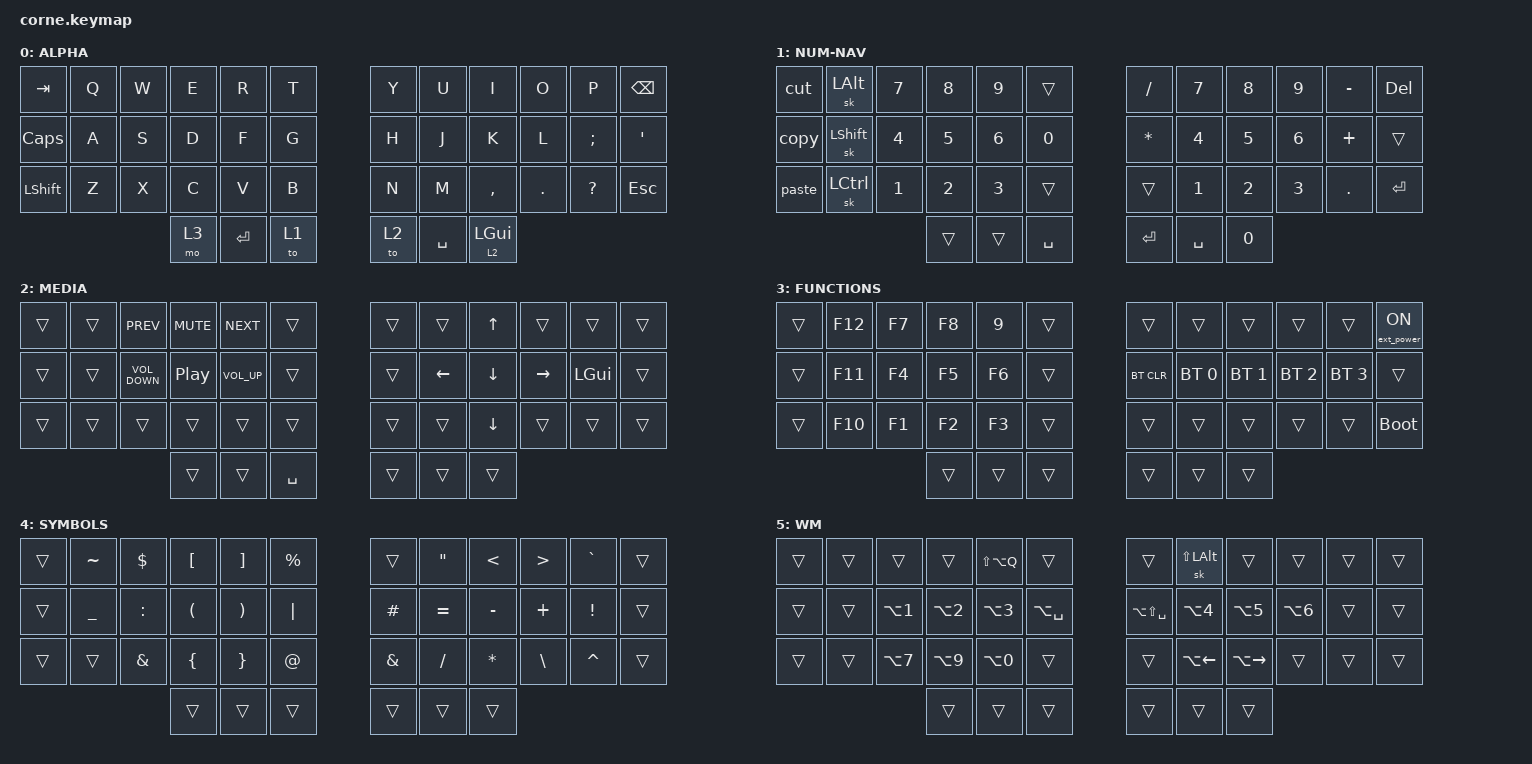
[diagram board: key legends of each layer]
/*
 * Copyright (c) 2020 The ZMK Contributors
 *
 * SPDX-License-Identifier: MIT
 */

#include <behaviors.dtsi>
#include <dt-bindings/zmk/bt.h>
#include <dt-bindings/zmk/ext_power.h>
#include <dt-bindings/zmk/keys.h>

/ {
    behaviors {
        hml: homerow_mods_left {
            compatible = "zmk,behavior-hold-tap";
            label = "HOMEROW_MODS_LEFT_HAND";
            bindings = <&kp>, <&kp>;

            #binding-cells = <2>;
            tapping-term-ms = <280>;
            hold-trigger-key-positions = <6 18 30 39 40 7 8 9 10 11 19 20 21 22 23 31 32 33 34 35 41>;
            quick-tap-ms = <175>;
            require-prior-idle-ms = <150>;
            flavor = "tap-preferred";
        };

        hmr: homerow_mods_right {
            compatible = "zmk,behavior-hold-tap";
            label = "HOMEROW_MODS_RIGHT_HAND";
            bindings = <&kp>, <&kp>;

            #binding-cells = <2>;
            tapping-term-ms = <280>;
            hold-trigger-key-positions = <0 1 2 3 4 5 12 13 14 15 16 17 24 25 26 27 28 29 36 37 38>;
            quick-tap-ms = <175>;
            require-prior-idle-ms = <150>;
            flavor = "tap-preferred";
        };
    };

    combos {
        compatible = "zmk,combos";

        Copy {
            bindings = <&kp LC(INSERT)>;
            key-positions = <3 2 4>;
            layers = <0>;
        };

        Paste {
            bindings = <&kp LS(INS)>;
            key-positions = <14 15 16>;
            layers = <0>;
        };

        Cut {
            bindings = <&kp LS(DELETE)>;
            key-positions = <26 28 27>;
            layers = <0>;
        };

        huh {
            bindings = <&kp QUESTION>;
            key-positions = <19 8>;
        };

        chin {
            bindings = <&kp EXCLAMATION>;
            key-positions = <3 16>;
        };

        caps {
            bindings = <&caps_word>;
            key-positions = <17 18>;
        };

        minus {
            bindings = <&kp MINUS>;
            key-positions = <15 14>;
        };

        equal {
            bindings = <&kp EQUAL>;
            key-positions = <15 16>;
        };

        under {
            bindings = <&kp UNDER>;
            key-positions = <15 28>;
        };

        plus {
            bindings = <&kp PLUS>;
            key-positions = <16 17>;
        };

        dobledot {
            bindings = <&kp COLON>;
            key-positions = <19 20>;
        };

        doubleQ {
            bindings = <&kp DOUBLE_QUOTES>;
            key-positions = <20 21>;
        };

        oParenthesis {
            bindings = <&kp LEFT_PARENTHESIS>;
            key-positions = <7 8>;
        };

        cParenthesis {
            bindings = <&kp RIGHT_PARENTHESIS>;
            key-positions = <8 9>;
        };

        oBracket {
            bindings = <&kp LEFT_BRACKET>;
            key-positions = <2 3>;
        };

        cBracket {
            bindings = <&kp RIGHT_BRACKET>;
            key-positions = <3 4>;
        };

        oBrace {
            bindings = <&kp LEFT_BRACE>;
            key-positions = <26 27>;
        };

        cBrace {
            bindings = <&kp RIGHT_BRACE>;
            key-positions = <27 28>;
        };

        minor {
            bindings = <&kp LESS_THAN>;
            key-positions = <31 32>;
        };

        greater {
            bindings = <&kp GREATER_THAN>;
            key-positions = <32 33>;
        };

        arst {
            bindings = <&kp CARET>;
            key-positions = <19 8 21>;
        };

        ivSlash {
            bindings = <&kp BACKSLASH>;
            key-positions = <20 33>;
        };

        asterisk {
            bindings = <&kp ASTRK>;
            key-positions = <7 8 21>;
        };
    };

    macros {
        cut: cut {
            compatible = "zmk,behavior-macro";
            #binding-cells = <0>;
            bindings = <&kp LS(DEL)>;
            label = "CUT";
        };

        copy: copy {
            compatible = "zmk,behavior-macro";
            #binding-cells = <0>;
            bindings = <&kp LC(INS)>;
            label = "COPY";
        };

        paste: paste {
            compatible = "zmk,behavior-macro";
            #binding-cells = <0>;
            bindings = <&kp LS(INS)>;
            label = "PASTE";
        };

        left_word: left_word {
            compatible = "zmk,behavior-macro";
            #binding-cells = <0>;
            bindings = <&kp LC(LEFT)>;
            label = "LEFT_WORD";
        };

        right_word: right_word {
            compatible = "zmk,behavior-macro";
            #binding-cells = <0>;
            bindings = <&kp LC(RIGHT)>;
            label = "RIGHT_WORD";
        };

        fast_del: fast_del {
            compatible = "zmk,behavior-macro";
            #binding-cells = <0>;
            bindings = <&kp LC(BACKSPACE)>;
            label = "FAST_DEL";
        };
    };

    keymap {
        compatible = "zmk,keymap";

        base {
            display-name = "ALPHA";

            // -----------------------------------------------------------------------------------------
            // |  TAB |  Q  |  W  |  E  |  R  |  T  |   |  Y  |  U   |  I  |  O  |  P  | BKSP |
            // | CTRL |  A  |  S  |  D  |  F  |  G  |   |  H  |  J   |  K  |  L  |  ;  |  '   |
            // | SHFT |  Z  |  X  |  C  |  V  |  B  |   |  N  |  M   |  ,  |  .  |  /  | ESC  |
            //                    | GUI | ENT | LWR |   | RSE | SPC  | ALT |

            bindings = <
&kp TAB       &kp Q  &kp W  &kp E  &kp R      &kp T    &kp Y  &kp U      &kp I           &kp O       &kp P          &kp BACKSPACE
&kp CAPSLOCK  &kp A  &kp S  &kp D  &kp F      &kp G    &kp H  &kp J      &kp K           &kp L       &kp SEMICOLON  &kp SQT
&kp LSHFT     &kp Z  &kp X  &kp C  &kp V      &kp B    &kp N  &kp M      &kp COMMA       &kp PERIOD  &kp QUESTION   &kp ESCAPE
                            &mo 3  &kp ENTER  &to 1    &to 2  &kp SPACE  &lt 2 LEFT_GUI
            >;

            label = "0";
        };

        num-nav {
            display-name = "NUM-NAV";

            // -----------------------------------------------------------------------------------------
            // |  TAB |  1  |  2  |  3  |  4  |  5  |   |  6  |  7  |  8  |  9  |  0  | BKSP |
            // | BTCLR| BT1 | BT2 | BT3 | BT4 | BT5 |   | LFT | DWN |  UP | RGT |     |      |
            // | SHFT |     |     |     |     |     |   |     |     |     |     |     |      |
            //                    | GUI |     | SPC |   | ENT |     | ALT |

            bindings = <
&cut    &sk LEFT_ALT    &kp N7        &kp N8        &kp N9        &trans       &kp SLASH     &kp N7     &kp N8  &kp N9        &kp MINUS   &kp DELETE
&copy   &sk LEFT_SHIFT  &kp NUMBER_4  &kp N5        &kp NUMBER_6  &kp N0       &kp ASTERISK  &kp N4     &kp N5  &kp N6        &kp PLUS    &trans
&paste  &sk LCTRL       &kp NUMBER_1  &kp NUMBER_2  &kp NUMBER_3  &trans       &trans        &kp N1     &kp N2  &kp NUMBER_3  &kp PERIOD  &kp ENTER
                                      &trans        &trans        &kp SPACE    &kp RET       &kp SPACE  &kp N0
            >;

            label = "1";
        };

        arrow {
            display-name = "MEDIA";

            // -----------------------------------------------------------------------------------------
            // |  TAB |  !  |  @  |  #  |  $  |  %  |   |  ^  |  &  |  *  |  (  |  )  | BKSP |
            // | CTRL |     |     |     |     |     |   |  -  |  =  |  [  |  ]  |  \  |  `   |
            // | SHFT |     |     |     |     |     |   |  _  |  +  |  {  |  }  | "|" |  ~   |
            //                    | GUI |     | SPC |   | ENT |     | ALT |

            bindings = <
&trans  &trans  &kp C_PREV         &kp C_MUTE        &kp C_NEXT       &trans       &trans  &trans    &kp UP_ARROW  &trans     &trans        &trans
&trans  &trans  &kp C_VOLUME_DOWN  &kp C_PLAY_PAUSE  &kp C_VOLUME_UP  &trans       &trans  &kp LEFT  &kp DOWN      &kp RIGHT  &kp LEFT_GUI  &trans
&trans  &trans  &trans             &trans            &trans           &trans       &trans  &trans    &kp DOWN      &trans     &trans        &trans
                                   &trans            &trans           &kp SPACE    &trans  &trans    &trans
            >;

            label = "2";
        };

        funcbluetooth {
            display-name = "FUNCTIONS";
            bindings = <
&trans  &kp F12  &kp F7  &kp F8  &kp N9  &trans    &trans      &trans        &trans        &trans        &trans        &ext_power EP_ON
&trans  &kp F11  &kp F4  &kp F5  &kp F6  &trans    &bt BT_CLR  &bt BT_SEL 0  &bt BT_SEL 1  &bt BT_SEL 2  &bt BT_SEL 3  &trans
&trans  &kp F10  &kp F1  &kp F2  &kp F3  &trans    &trans      &trans        &trans        &trans        &trans        &bootloader
                         &trans  &trans  &trans    &trans      &trans        &trans
            >;

            label = "3";
        };

        sym {
            display-name = "SYMBOLS";
            bindings = <
&trans  &kp TILDE  &kp DOLLAR     &kp LEFT_BRACKET      &kp RIGHT_BRACKET      &kp PERCENT    &trans    &kp DOUBLE_QUOTES  &kp LESS_THAN  &kp GREATER_THAN  &kp GRAVE        &trans
&trans  &kp UNDER  &kp COLON      &kp LEFT_PARENTHESIS  &kp RIGHT_PARENTHESIS  &kp PIPE       &kp HASH  &kp EQUAL          &kp MINUS      &kp PLUS          &kp EXCLAMATION  &trans
&trans  &trans     &kp AMPERSAND  &kp LEFT_BRACE        &kp RIGHT_BRACE        &kp AT_SIGN    &kp AMPS  &kp SLASH          &kp ASTERISK   &kp BACKSLASH     &kp CARET        &trans
                                  &trans                &trans                 &trans         &trans    &trans             &trans
            >;
        };

        wm {
            bindings = <
&trans  &trans  &trans            &trans            &kp LS(LA(Q))     &trans           &trans             &sk LS(LEFT_ALT)    &trans         &trans            &trans  &trans
&trans  &trans  &kp LA(NUMBER_1)  &kp LA(NUMBER_2)  &kp LA(NUMBER_3)  &kp LA(SPACE)    &kp LA(LS(SPACE))  &kp LA(NUMBER_4)    &kp LA(N5)     &kp LA(NUMBER_6)  &trans  &trans
&trans  &trans  &kp LA(N7)        &kp LA(N9)        &kp LA(N0)        &trans           &trans             &kp LA(LEFT_ARROW)  &kp LA(RIGHT)  &trans            &trans  &trans
                                  &trans            &trans            &trans           &trans             &trans              &trans
            >;

            label = "WM";
        };
    };

    conditional_layers {
        compatible = "zmk,conditional-layers";

        wm {
            if-layers = <2 3>;
            then-layer = <5>;
        };
    };
};
